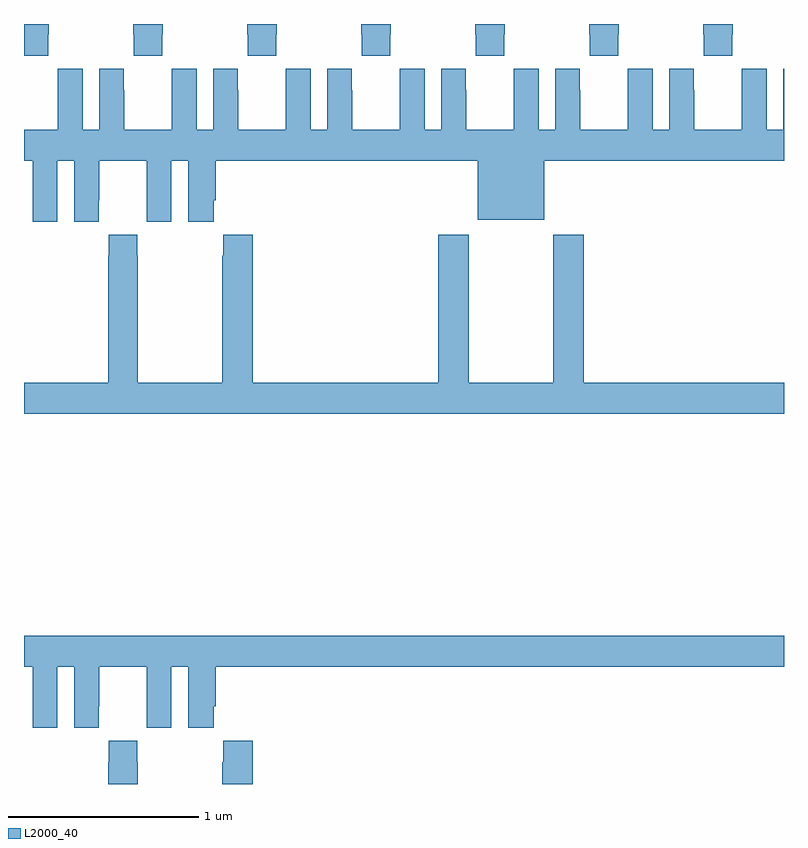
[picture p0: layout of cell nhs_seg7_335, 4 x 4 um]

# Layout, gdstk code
import gdstk
lib = gdstk.Library(unit=1e-6, precision=1e-09)
def P(c, l, *ps):  # polygons
    for p in ps: c.add(gdstk.Polygon(p, *l))
L2000_40 = (2000, 40)

nhs_seg7_335 = lib.new_cell('nhs_seg7_335')
P(nhs_seg7_335, L2000_40, [(137.127,1003.945),(137.13,1003.945),(137.13,1004),(137,1004),(137,1003.833),(137.127,1003.833)],
  [(140.727,1003.945),(140.73,1003.945),(140.73,1004),(140.575,1004),(140.575,1003.945),(140.577,1003.945),(140.577,1003.833),(140.727,1003.833)],
  [(140.127,1003.945),(140.13,1003.945),(140.13,1004),(139.975,1004),(139.975,1003.945),(139.977,1003.945),(139.977,1003.833),(140.127,1003.833)],
  [(139.527,1003.945),(139.53,1003.945),(139.53,1004),(139.375,1004),(139.375,1003.945),(139.377,1003.945),(139.377,1003.833),(139.527,1003.833)],
  [(138.927,1003.945),(138.93,1003.945),(138.93,1004),(138.775,1004),(138.775,1003.945),(138.777,1003.945),(138.777,1003.833),(138.927,1003.833)],
  [(138.175,1003.945),(138.177,1003.945),(138.177,1003.833),(138.327,1003.833),(138.327,1003.945),(138.33,1003.945),(138.33,1004),(138.175,1004)],
  [(137.727,1003.945),(137.73,1003.945),(137.73,1004),(137.575,1004),(137.575,1003.945),(137.577,1003.945),(137.577,1003.833),(137.727,1003.833)],
  [(141,1003.765),(140.996,1003.765),(140.996,1003.444),(140.908,1003.444),(140.908,1003.765),(140.778,1003.765),(140.778,1003.652),(140.777,1003.652),(140.777,1003.444),(140.527,1003.444),(140.527,1003.652),(140.526,1003.652),(140.526,1003.765),(140.396,1003.765),(140.396,1003.444),(140.308,1003.444),(140.308,1003.765),(140.178,1003.765),(140.178,1003.652),(140.177,1003.652),(140.177,1003.444),(139.927,1003.444),(139.927,1003.652),(139.926,1003.652),(139.926,1003.765),(139.796,1003.765),(139.796,1003.444),(139.708,1003.444),(139.708,1003.765),(139.578,1003.765),(139.578,1003.652),(139.577,1003.652),(139.577,1003.444),(139.327,1003.444),(139.327,1003.652),(139.326,1003.652),(139.326,1003.765),(139.196,1003.765),(139.196,1003.444),(139.108,1003.444),(139.108,1003.765),(138.978,1003.765),(138.978,1003.652),(138.977,1003.652),(138.977,1003.444),(138.727,1003.444),(138.727,1003.652),(138.726,1003.652),(138.726,1003.765),(138.596,1003.765),(138.596,1003.444),(138.508,1003.444),(138.508,1003.765),(138.378,1003.765),(138.378,1003.652),(138.377,1003.652),(138.377,1003.444),(138.127,1003.444),(138.127,1003.652),(138.126,1003.652),(138.126,1003.765),(137.996,1003.765),(137.996,1003.444),(137.908,1003.444),(137.908,1003.765),(137.778,1003.765),(137.778,1003.652),(137.777,1003.652),(137.777,1003.444),(137.527,1003.444),(137.527,1003.652),(137.526,1003.652),(137.526,1003.765),(137.396,1003.765),(137.396,1003.444),(137.308,1003.444),(137.308,1003.765),(137.178,1003.765),(137.178,1003.652),(137.177,1003.652),(137.177,1003.444),(137,1003.444),(137,1003.28),(137.045,1003.28),(137.045,1003.072),(137.046,1003.072),(137.046,1002.96),(137.176,1002.96),(137.176,1003.28),(137.264,1003.28),(137.264,1002.96),(137.394,1002.96),(137.394,1003.072),(137.395,1003.072),(137.395,1003.28),(137.645,1003.28),(137.645,1003.072),(137.646,1003.072),(137.646,1002.96),(137.776,1002.96),(137.776,1003.28),(137.864,1003.28),(137.864,1002.96),(137.998,1002.96),(137.998,1003.072),(138.008,1003.072),(138.008,1003.28),(139.388,1003.28),(139.388,1002.971),(139.738,1002.971),(139.738,1003.28),(141,1003.28)],
  [(141,1002.112),(139.946,1002.112),(139.946,1002.892),(139.786,1002.892),(139.786,1002.112),(139.341,1002.112),(139.341,1002.892),(139.181,1002.892),(139.181,1002.112),(138.203,1002.112),(138.203,1002.892),(138.049,1002.892),(138.049,1002.779),(138.043,1002.779),(138.043,1002.112),(137.598,1002.112),(137.598,1002.779),(137.595,1002.779),(137.595,1002.892),(137.445,1002.892),(137.445,1002.779),(137.443,1002.779),(137.443,1002.112),(137,1002.112),(137,1001.948),(141,1001.948)],
  [(137,1000.616),(137.045,1000.616),(137.045,1000.408),(137.046,1000.408),(137.046,1000.296),(137.176,1000.296),(137.176,1000.616),(137.264,1000.616),(137.264,1000.296),(137.394,1000.296),(137.394,1000.408),(137.395,1000.408),(137.395,1000.616),(137.645,1000.616),(137.645,1000.408),(137.646,1000.408),(137.646,1000.296),(137.776,1000.296),(137.776,1000.616),(137.864,1000.616),(137.864,1000.296),(137.998,1000.296),(137.998,1000.408),(138.008,1000.408),(138.008,1000.616),(141,1000.616),(141,1000.78),(137,1000.78)],
  [(138.203,1000.228),(138.049,1000.228),(138.049,1000.115),(138.043,1000.115),(138.043,1000),(138.203,1000)],
  [(137.598,1000.115),(137.595,1000.115),(137.595,1000.228),(137.445,1000.228),(137.445,1000.115),(137.443,1000.115),(137.443,1000),(137.598,1000)])

lib.write_gds('nhs_seg7_335.gds')
